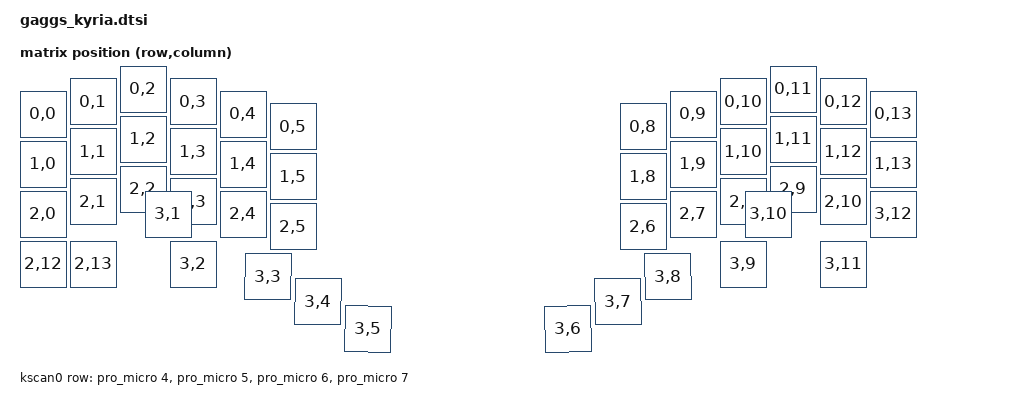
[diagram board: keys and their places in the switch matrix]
#include <dt-bindings/zmk/matrix_transform.h>
#include <physical_layouts.dtsi>
#include <dt-bindings/gpio/gpio.h>

/ {
    chosen {
        zmk,kscan = &kscan0;
        //zmk,physical-layout = &gaggs_kyria_layout; 
    };

    zmk_studio: zmk_studio {
        compatible = "zmk,studio";
    };

    gaggs_kyria_layout: gaggs_kyria_layout {
        compatible = "zmk,physical-layout";
        display-name = "Gaggs Kyria Layout";
        transform = <&default_transform>; 
        kscan = <&kscan0>;

     /* 50키 완벽 대응 (좌우 교차 순서 적용 + 엄지 회전 복구) */
        keys
            /* ================= Row 0 (12키: 좌 6 + 우 6) ================= */
            /* 왼쪽 Row 0 (1~6번 키) */
            = <&key_physical_attrs 100 100 0 50 0 0 0>
            , <&key_physical_attrs 100 100 100 25 0 0 0>
            , <&key_physical_attrs 100 100 200 0 0 0 0>
            , <&key_physical_attrs 100 100 300 25 0 0 0>
            , <&key_physical_attrs 100 100 400 50 0 0 0>
            , <&key_physical_attrs 100 100 500 75 0 0 0>
            /* 오른쪽 Row 0 (7~12번 키: Y, U, I, O, P, \) */
            , <&key_physical_attrs 100 100 1200 75 0 0 0>
            , <&key_physical_attrs 100 100 1300 50 0 0 0>
            , <&key_physical_attrs 100 100 1400 25 0 0 0>
            , <&key_physical_attrs 100 100 1500 0 0 0 0>
            , <&key_physical_attrs 100 100 1600 25 0 0 0>
            , <&key_physical_attrs 100 100 1700 50 0 0 0>

            /* ================= Row 1 (12키: 좌 6 + 우 6) ================= */
            /* 왼쪽 Row 1 (13~18번 키) */
            , <&key_physical_attrs 100 100 0 150 0 0 0>
            , <&key_physical_attrs 100 100 100 125 0 0 0>
            , <&key_physical_attrs 100 100 200 100 0 0 0>
            , <&key_physical_attrs 100 100 300 125 0 0 0>
            , <&key_physical_attrs 100 100 400 150 0 0 0>
            , <&key_physical_attrs 100 100 500 175 0 0 0>
            /* 오른쪽 Row 1 (19~24번 키) */
            , <&key_physical_attrs 100 100 1200 175 0 0 0>
            , <&key_physical_attrs 100 100 1300 150 0 0 0>
            , <&key_physical_attrs 100 100 1400 125 0 0 0>
            , <&key_physical_attrs 100 100 1500 100 0 0 0>
            , <&key_physical_attrs 100 100 1600 125 0 0 0>
            , <&key_physical_attrs 100 100 1700 150 0 0 0>

            /* ================= Row 2 (12키: 좌 6 + 우 6) ================= */
            /* 왼쪽 Row 2 (25~30번 키) */
            , <&key_physical_attrs 100 100 0 250 0 0 0>
            , <&key_physical_attrs 100 100 100 225 0 0 0>
            , <&key_physical_attrs 100 100 200 200 0 0 0>
            , <&key_physical_attrs 100 100 300 225 0 0 0>
            , <&key_physical_attrs 100 100 400 250 0 0 0>
            , <&key_physical_attrs 100 100 500 275 0 0 0>
            /* 오른쪽 Row 2 (31~36번 키) */
            , <&key_physical_attrs 100 100 1200 275 0 0 0>
            , <&key_physical_attrs 100 100 1300 250 0 0 0>
            , <&key_physical_attrs 100 100 1400 225 0 0 0>
            , <&key_physical_attrs 100 100 1500 200 0 0 0>
            , <&key_physical_attrs 100 100 1600 225 0 0 0>
            , <&key_physical_attrs 100 100 1700 250 0 0 0>

            /* ================= Row 3 엄지 블록 (14키: 좌 7 + 우 7) ================= */
            /* 왼쪽 엄지 (37~43번 키: 회전각 15, 30, 45도 및 피벗점 부활) */
            , <&key_physical_attrs 100 100 0 350 0 0 0>
            , <&key_physical_attrs 100 100 100 350 0 0 0>
            , <&key_physical_attrs 100 100 250 250 0 0 0>
            , <&key_physical_attrs 100 100 300 350 0 0 0>
            , <&key_physical_attrs 100 100 450 375 15 500 425>
            , <&key_physical_attrs 100 100 550 425 30 600 475>
            , <&key_physical_attrs 100 100 650 480 45 700 530>

            /* 오른쪽 엄지 (44~50번 키: 사진의 부채꼴 대칭 복구, 마이너스 괄호 처리 완료) */
            , <&key_physical_attrs 100 100 1050 480 (-45) 1100 530>
            , <&key_physical_attrs 100 100 1150 425 (-30) 1200 475>
            , <&key_physical_attrs 100 100 1250 375 (-15) 1300 425>
            , <&key_physical_attrs 100 100 1400 350 0 0 0>
            , <&key_physical_attrs 100 100 1450 250 0 0 0>
            , <&key_physical_attrs 100 100 1600 350 0 0 0>
            , <&key_physical_attrs 100 100 1700 250 0 0 0>
            ;
    };

    default_transform: keymap_transform_0 {
        compatible = "zmk,matrix-transform";
        columns = <14>;
        rows = <4>;
          map = <
RC(0,0) RC(0,1) RC(0,2) RC(0,3) RC(0,4) RC(0,5)                          RC(0,8) RC(0,9) RC(0,10) RC(0,11) RC(0,12) RC(0,13)
RC(1,0) RC(1,1) RC(1,2) RC(1,3) RC(1,4) RC(1,5)                          RC(1,8) RC(1,9) RC(1,10) RC(1,11) RC(1,12) RC(1,13)
RC(2,0) RC(2,1) RC(2,2) RC(2,3) RC(2,4) RC(2,5) RC(2,6)        RC(2,7)   RC(2,8) RC(2,9) RC(2,10) RC(2,11) RC(2,12) RC(2,13)
        RC(3,1) RC(3,2) RC(3,3) RC(3,4) RC(3,5) RC(3,6)        RC(3,7)   RC(3,8) RC(3,9) RC(3,10) RC(3,11) RC(3,12)
        >;
    };

    kscan0: kscan {
        compatible = "zmk,kscan-gpio-matrix";
        label = "KSCAN";
        diode-direction = "col2row";

        row-gpios
        = <&pro_micro 4 (GPIO_ACTIVE_HIGH | GPIO_PULL_DOWN)>
        , <&pro_micro 5 (GPIO_ACTIVE_HIGH | GPIO_PULL_DOWN)>
        , <&pro_micro 6 (GPIO_ACTIVE_HIGH | GPIO_PULL_DOWN)>
        , <&pro_micro 7 (GPIO_ACTIVE_HIGH | GPIO_PULL_DOWN)>
        ;
    };
};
